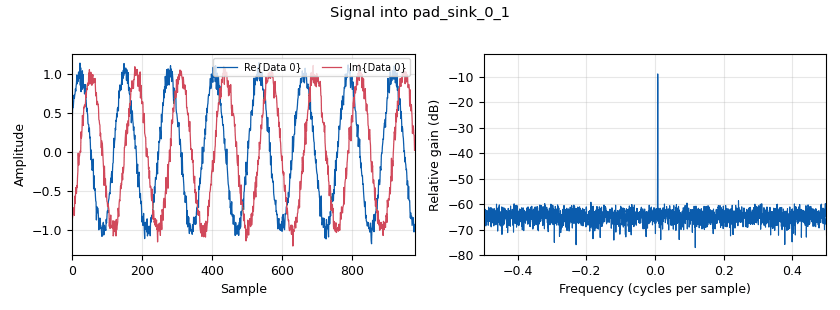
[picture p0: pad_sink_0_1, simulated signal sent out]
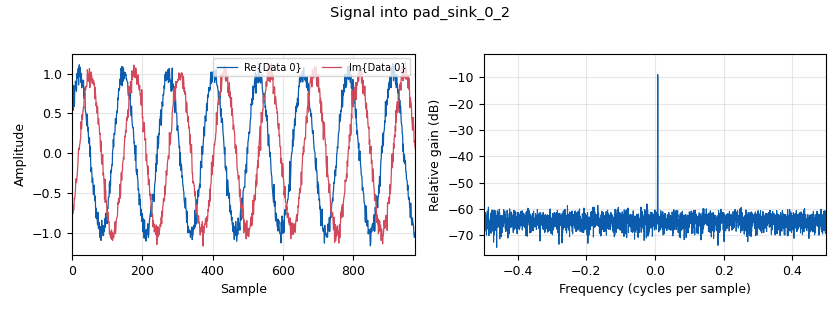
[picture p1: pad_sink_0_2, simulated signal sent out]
<?xml version='1.0' encoding='utf-8'?>
<?grc format='1' created='3.7.13'?>
<flow_graph>
<block>
<key>options</key>
<param><key>id</key><value>real_source</value></param>
<param><key>generate_options</key><value>hb</value></param>
<param><key>title</key><value>Real noise source</value></param>
</block>
<block>
<key>parameter</key>
<param><key>id</key><value>SNR</value></param>
<param><key>label</key><value>Signal to noise ratio</value></param>
<param><key>type</key><value>eng_float</value></param>
<param><key>value</key><value>20</value></param>
</block>
<block>
<key>analog_fastnoise_source_x</key>
<param><key>id</key><value>analog_fastnoise_source_x_0</value></param>
<param><key>amp</key><value>10**(-SNR/20)</value></param>
<param><key>noise_type</key><value>analog.GR_GAUSSIAN</value></param>
<param><key>type</key><value>complex</value></param>
<param><key>seed</key><value>30</value></param>
<param><key>samples</key><value>8192</value></param>
</block>
<block>
<key>analog_fastnoise_source_x</key>
<param><key>id</key><value>analog_fastnoise_source_x_0_0</value></param>
<param><key>amp</key><value>10**(-SNR/20)</value></param>
<param><key>noise_type</key><value>analog.GR_GAUSSIAN</value></param>
<param><key>type</key><value>complex</value></param>
<param><key>seed</key><value>1</value></param>
<param><key>samples</key><value>8192</value></param>
</block>
<block>
<key>analog_sig_source_x</key>
<param><key>id</key><value>analog_sig_source_x_0</value></param>
<param><key>amp</key><value>1</value></param>
<param><key>freq</key><value>frequency</value></param>
<param><key>offset</key><value>0</value></param>
<param><key>type</key><value>complex</value></param>
<param><key>samp_rate</key><value>samp_rate</value></param>
<param><key>waveform</key><value>analog.GR_COS_WAVE</value></param>
</block>
<block>
<key>analog_sig_source_x</key>
<param><key>id</key><value>analog_sig_source_x_0_0</value></param>
<param><key>amp</key><value>1</value></param>
<param><key>freq</key><value>frequency</value></param>
<param><key>offset</key><value>0</value></param>
<param><key>type</key><value>complex</value></param>
<param><key>samp_rate</key><value>samp_rate</value></param>
<param><key>waveform</key><value>analog.GR_COS_WAVE</value></param>
</block>
<block>
<key>blocks_add_xx</key>
<param><key>id</key><value>blocks_add_xx_0</value></param>
<param><key>type</key><value>complex</value></param>
</block>
<block>
<key>blocks_add_xx</key>
<param><key>id</key><value>blocks_add_xx_0_0</value></param>
<param><key>type</key><value>complex</value></param>
</block>
<block>
<key>parameter</key>
<param><key>id</key><value>frequency</value></param>
<param><key>label</key><value>Frequency of the signal</value></param>
<param><key>type</key><value>eng_float</value></param>
<param><key>value</key><value>2e3</value></param>
</block>
<block>
<key>pad_sink</key>
<param><key>id</key><value>pad_sink_0_1</value></param>
<param><key>type</key><value>complex</value></param>
<param><key>label</key><value>out2</value></param>
</block>
<block>
<key>pad_sink</key>
<param><key>id</key><value>pad_sink_0_2</value></param>
<param><key>type</key><value>complex</value></param>
<param><key>label</key><value>out1</value></param>
</block>
<block>
<key>parameter</key>
<param><key>id</key><value>samp_rate</value></param>
<param><key>label</key><value>Sample rate</value></param>
<param><key>hide</key><value>part</value></param>
<param><key>type</key><value>eng_float</value></param>
<param><key>value</key><value>256e3</value></param>
</block>
<connection><source_block_id>analog_fastnoise_source_x_0</source_block_id><sink_block_id>blocks_add_xx_0</sink_block_id><source_key>0</source_key><sink_key>0</sink_key></connection>
<connection><source_block_id>analog_fastnoise_source_x_0_0</source_block_id><sink_block_id>blocks_add_xx_0_0</sink_block_id><source_key>0</source_key><sink_key>1</sink_key></connection>
<connection><source_block_id>analog_sig_source_x_0</source_block_id><sink_block_id>blocks_add_xx_0</sink_block_id><source_key>0</source_key><sink_key>1</sink_key></connection>
<connection><source_block_id>analog_sig_source_x_0_0</source_block_id><sink_block_id>blocks_add_xx_0_0</sink_block_id><source_key>0</source_key><sink_key>0</sink_key></connection>
<connection><source_block_id>blocks_add_xx_0</source_block_id><sink_block_id>pad_sink_0_2</sink_block_id><source_key>0</source_key><sink_key>0</sink_key></connection>
<connection><source_block_id>blocks_add_xx_0_0</source_block_id><sink_block_id>pad_sink_0_1</sink_block_id><source_key>0</source_key><sink_key>0</sink_key></connection>
</flow_graph>
